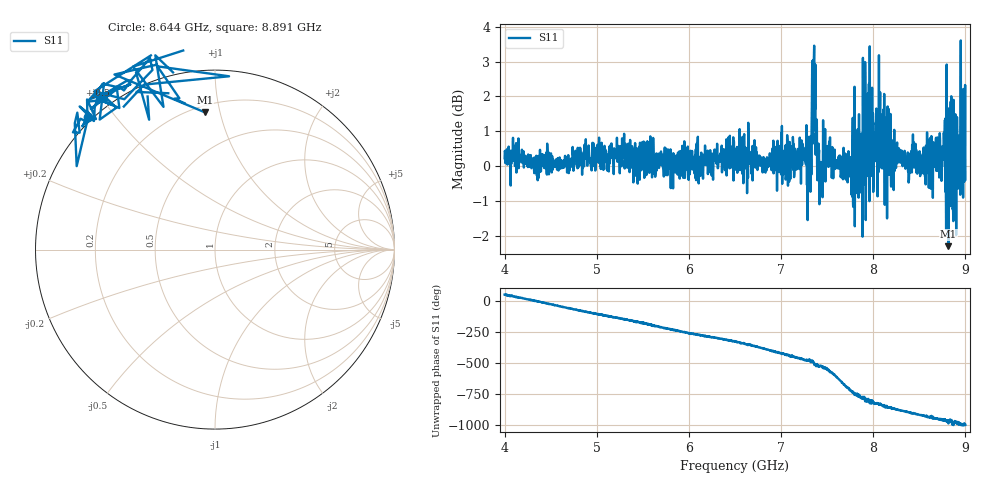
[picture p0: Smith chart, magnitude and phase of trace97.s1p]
! Created with skrf 1.8.0 (http://scikit-rf.org).
# Hz S RI R 50.0
!freq ReS11 ImS11
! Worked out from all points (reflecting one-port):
!   1601 points, 4 GHz to 9 GHz, reference 50 ohm
!   lowest |S11| = -2.3 dB at 8.816 GHz (marker M1), VSWR 7.58, Z = 12.1 + j44.9 ohm
!   phase of S11 starts at 51 deg and turns -1049 deg over the sweep
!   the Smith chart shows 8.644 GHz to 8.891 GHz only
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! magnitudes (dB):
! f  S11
! 4 GHz  0.2
! 4.625 GHz  -0.1
! 5.25 GHz  -0.2
! 5.875 GHz  0.1
! 6.5 GHz  0.3
! 7.125 GHz  0.4
! 7.303 GHz  -0.6
! 7.347 GHz  3.0
! 7.359 GHz  3.5
! 7.381 GHz  0.7
! 7.4 GHz  0.6
! 7.428 GHz  0.0
! 7.509 GHz  0.0
! 7.75 GHz  0.1
! 7.881 GHz  0.0
! 7.928 GHz  0.9
! 7.981 GHz  0.6
! 8.088 GHz  0.7
! 8.128 GHz  0.8
! 8.178 GHz  1.5
! 8.216 GHz  0.7
! 8.375 GHz  0.4
! 8.441 GHz  0.0
! 8.622 GHz  -0.5
! 8.816 GHz  -2.3
! 8.875 GHz  0.1
! 8.972 GHz  0.9
! 9 GHz  -0.4
